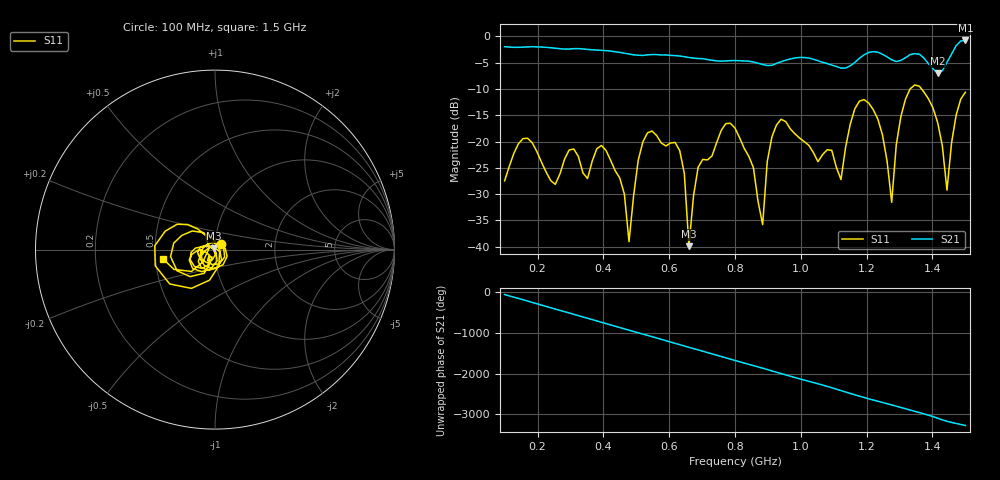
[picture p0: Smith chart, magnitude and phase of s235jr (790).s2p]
! NanoVNA-App
! Date: 2025-09-25 15:10:19
! Start: 100MHz Stop: 1,5GHz Points: 101
! S-Parameter data: F S11 S21 S12 S22
# Hz S RI R 50
!  Frequency  S11_Real  S11_Imag  S21_Real  S21_Imag  S12_Real  S12_Imag  S22_Real  S22_Imag
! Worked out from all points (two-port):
!   101 points, 100 MHz to 1.5 GHz, reference 50 ohm
!   highest |S21| = -0.78 dB at 1.5 GHz (marker M1); lowest = -7.1 dB at 1.416 GHz (marker M2)
!   |S21| within 3 dB of the highest: start of sweep to 636.2 MHz; 1.186 GHz to 1.259 GHz (72.27 MHz wide, 5.91 % of centre) (the widest 2 of 4)
!   lowest |S11| = -39.9 dB at 660 MHz (marker M3), VSWR 1.02, Z = 49.2 + j0.652 ohm
!   |S11| at or under -10 dB: start of sweep to 1.332 GHz; 1.367 GHz to end of sweep
!   S12 and S22 are empty: the file has one direction only
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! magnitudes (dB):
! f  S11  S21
! 100 MHz  -27.5  -2.0
! 156 MHz  -19.4  -2.1
! 338 MHz  -26.0  -2.4
! 408 MHz  -21.7  -2.7
! 478 MHz  -39.0  -3.4
! 520 MHz  -20.1  -3.6
! 576 MHz  -20.3  -3.5
! 632 MHz  -21.7  -3.7
! 660 MHz  -39.9  -4.0
! 688 MHz  -24.9  -4.2
! 800 MHz  -17.4  -4.6
! 884 MHz  -35.8  -5.4
! 926 MHz  -16.9  -5.1
! 1.038 GHz  -22.1  -4.3
! 1.122 GHz  -27.2  -6.0
! 1.192 GHz  -12.0  -3.5
! 1.248 GHz  -18.7  -3.4
! 1.276 GHz  -31.5  -4.5
! 1.332 GHz  -10.0  -3.5
! 1.416 GHz  -16.4  -7.1
! 1.444 GHz  -29.2  -5.0
! 1.5 GHz  -10.6  -0.8
